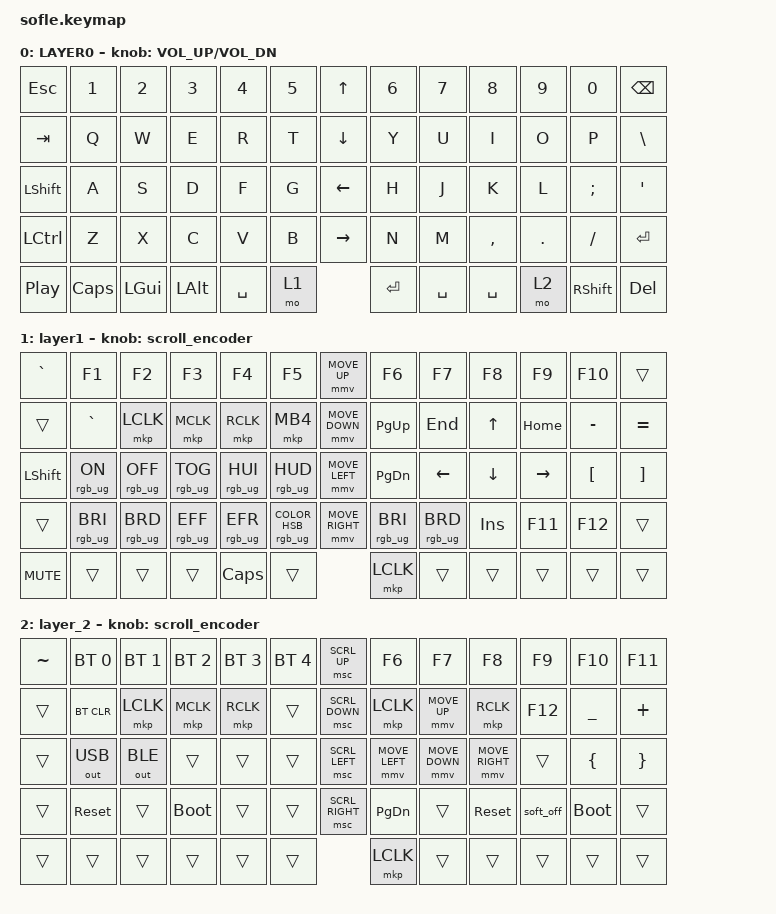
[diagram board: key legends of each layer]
#include <behaviors/mouse_keys.dtsi>
#include <behaviors.dtsi>
#include <dt-bindings/zmk/bt.h>
#include <dt-bindings/zmk/keys.h>
#include <dt-bindings/zmk/mouse.h>
#include <dt-bindings/zmk/outputs.h>
#include <dt-bindings/zmk/rgb.h>

#define ZMK_MOUSE_DEFAULT_MOVE_VAL 1200  // 600
#define ZMK_MOUSE_DEFAULT_SCRL_VAL 20    // 10
#define U_MS_U &mmv MOVE_UP
#define U_MS_D &mmv MOVE_DOWN
#define U_MS_L &mmv MOVE_LEFT
#define U_MS_R &mmv MOVE_RIGHT
#define ZMK_MOUSE_DEFAULT_MOVE_VAL 1200  //  600
#define ZMK_MOUSE_DEFAULT_SCRL_VAL 20    // 10

/ {
    behaviors {
        mmv {
            acceleration-exponent = <1>;      // 1
            time-to-max-speed-ms = <900>;    // 40
            delay-ms = <0>;                   // 0
        };

        msc {
            acceleration-exponent = <1>;      // 0
            time-to-max-speed-ms = <400>;      // 500
            delay-ms = <0>;                   //   10
        };
    };

    scroll_encoder: scroll_encoder {
        compatible = "zmk,behavior-sensor-rotate";
        #sensor-binding-cells = <0>;
        bindings = <&msc SCRL_DOWN>, <&msc SCRL_UP>;

        tap-ms = <30>;
    };

    keymap {
        compatible = "zmk,keymap";

        layer0 {
            bindings = <
&kp ESC     &kp N1     &kp N2        &kp N3        &kp N4     &kp N5                 &kp UP_ARROW     &kp N6     &kp N7     &kp N8     &kp N9           &kp N0      &kp BACKSPACE
&kp TAB     &kp Q      &kp W         &kp E         &kp R      &kp T                  &kp DOWN_ARROW   &kp Y      &kp U      &kp I      &kp O            &kp P       &kp BSLH
&kp LSHFT   &kp A      &kp S         &kp D         &kp F      &kp G                  &kp LEFT_ARROW   &kp H      &kp J      &kp K      &kp L            &kp SEMI    &kp APOS
&kp LCTRL   &kp Z      &kp X         &kp C         &kp V      &kp B                  &kp RIGHT_ARROW  &kp N      &kp M      &kp COMMA  &kp DOT          &kp FSLH   &kp ENTER
&kp C_PLAY_PAUSE   &kp CAPS    &kp LEFT_GUI    &kp LEFT_ALT   &kp SPACE    &mo 1     &kp ENTER        &kp SPACE  &kp SPACE  &mo 2     &kp RIGHT_SHIFT   &kp DELETE
            >;

            sensor-bindings = <&inc_dec_kp C_VOLUME_UP C_VOL_DN>;
            display-name = "LAYER0";
        };

        layer_1 {
            bindings = <
&kp GRAVE   &kp F1           &kp F2          &kp F3           &kp F4           &kp F5                &mmv MOVE_UP     &kp F6           &kp F7           &kp F8      &kp F9     &kp F10           &trans
&trans      &kp GRAVE        &mkp LCLK       &mkp MCLK        &mkp RCLK        &mkp MB4              &mmv MOVE_DOWN   &kp PG_UP        &kp END          &kp UP      &kp HOME   &kp MINUS         &kp EQUAL
&kp LSHFT   &rgb_ug RGB_ON   &rgb_ug RGB_OFF   &rgb_ug RGB_TOG   &rgb_ug RGB_HUI   &rgb_ug RGB_HUD   &mmv MOVE_LEFT   &kp PG_DN        &kp LEFT         &kp DOWN    &kp RIGHT  &kp LEFT_BRACKET  &kp RIGHT_BRACKET
&trans      &rgb_ug RGB_BRI  &rgb_ug RGB_BRD  &rgb_ug RGB_EFF  &rgb_ug RGB_EFR  &rgb_ug RGB_COLOR_HSB(128,100,100)       &mmv MOVE_RIGHT  &rgb_ug RGB_BRI  &rgb_ug RGB_BRD  &kp INSERT  &kp F11    &kp F12           &trans
&kp C_MUTE  &trans           &trans          &trans          &kp CAPS           &trans             &mkp LCLK        &trans          &trans           &trans      &trans     &trans
            >;

            display-name = "layer1";
            sensor-bindings = <&scroll_encoder>;
        };

        layer_2 {
            bindings = <
&kp TILDE  &bt BT_SEL 0  &bt BT_SEL 1    &bt BT_SEL 2  &bt BT_SEL 3  &bt BT_SEL 4    &msc SCRL_UP     &kp F6          &kp F7          &kp F8                 &kp F9     &kp F10      &kp F11
&trans     &bt BT_CLR    &mkp LCLK       &mkp MCLK     &mkp RCLK     &trans          &msc SCRL_DOWN   &mkp LCLK          &mmv MOVE_UP    &mkp RCLK                &kp F12    &kp UNDER    &kp PLUS
&trans     &out OUT_USB  &out OUT_BLE    &trans        &trans        &trans          &msc SCRL_LEFT   &mmv MOVE_LEFT     &mmv MOVE_DOWN  &mmv MOVE_RIGHT        &trans     &kp LBRC     &kp RBRC
&trans     &sys_reset    &trans          &bootloader   &trans        &trans          &msc SCRL_RIGHT  &kp PG_DN          &trans          &sys_reset             &soft_off  &bootloader  &trans
&trans     &trans        &trans          &trans        &trans        &trans          &mkp LCLK        &trans          &trans          &trans                 &trans     &trans
            >;

            sensor-bindings = <&scroll_encoder>;
        };
    };
};
